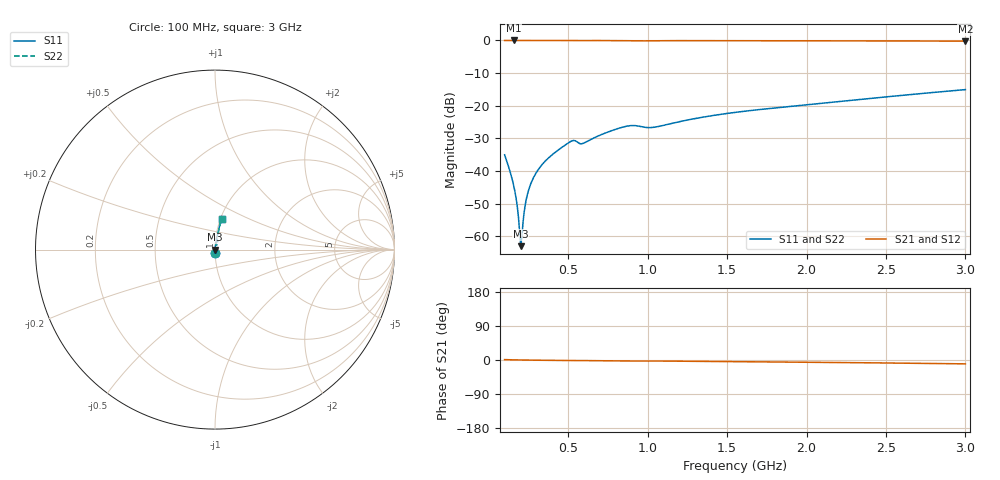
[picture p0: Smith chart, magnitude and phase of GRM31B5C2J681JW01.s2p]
!Murata Part Number: GRM31B5C2J681JW01
!These Parameters are Measured in Series Mode Connection
!Data Generated on Mar 30, 2021
!  o--ll--o
!Port1  Port2
!  o------o
!Operation Temp=25[degC], DC Bias Voltage=0[V]
!Freq. Start=100[MHz] Stop=3[GHz] 401[Steps]
# Hz S RI R 50
!Freq.(Hz) S11(Real) S11(Imag) S21(Real) S21(Imag) S12(Real) S12(Imag) S22(Real) S22(Imag)
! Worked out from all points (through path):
!   401 points, 100 MHz to 3 GHz, reference 50 ohm
!   highest |S21| = -0.01 dB at 158 MHz (marker M1); lowest = -0.2 dB at 3 GHz (marker M2)
!   group delay of S21, straight-line fit = 9.43 ps
!   lowest |S11| = -63.0 dB at 201.5 MHz (marker M3), VSWR 1.00, Z = 50.1 - j0.013 ohm
!   |S11| at or under -10 dB: start of sweep to end of sweep
!   |S22| runs from -63.0 to -15.1 dB; largest |S21 - S12| = 0
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1e8  0.000935 -0.0177  0.9991 0.0177  0.9991 0.0177  0.000935 -0.0177
1.29e8  0.000753 -0.0108  0.9992 0.0108  0.9992 0.0108  0.000753 -0.0108
1.58e8  0.00069 -0.00583  0.9993 0.00583  0.9993 0.00583  0.00069 -0.00583
1.725e8  0.000682 -0.00375  0.9993 0.00375  0.9993 0.00375  0.000682 -0.00375
1.9425e8  0.00069 -0.000983  0.9993 0.000983  0.9993 0.000983  0.00069 -0.000983
2.015e8  0.000697 -0.00013  0.9993 0.00013  0.9993 0.00013  0.000697 -0.00013
2.0875e8  0.000705 0.000693  0.9993 -0.000693  0.9993 -0.000693  0.000705 0.000693
2.16e8  0.000716 0.00149  0.9993 -0.00149  0.9993 -0.00149  0.000716 0.00149
2.305e8  0.000741 0.00302  0.9993 -0.00302  0.9993 -0.00302  0.000741 0.00302
2.5225e8  0.00079 0.00517  0.9992 -0.00517  0.9992 -0.00517  0.00079 0.00517
2.74e8  0.000852 0.00719  0.9991 -0.00719  0.9991 -0.00719  0.000852 0.00719
3.1025e8  0.000986 0.0104  0.999 -0.0104  0.999 -0.0104  0.000986 0.0104
3.8275e8  0.00141 0.0164  0.9986 -0.0164  0.9986 -0.0164  0.00141 0.0164
5.06e8  0.00462 0.0271  0.9954 -0.0271  0.9954 -0.0271  0.00462 0.0271
5.35e8  0.00791 0.0283  0.9921 -0.0283  0.9921 -0.0283  0.00791 0.0283
5.8575e8  0.00667 0.0254  0.9933 -0.0254  0.9933 -0.0254  0.00667 0.0254
8.6125e8  0.011 0.047  0.989 -0.047  0.989 -0.047  0.011 0.047
1.0715e9  0.0104 0.0472  0.9896 -0.0472  0.9896 -0.0472  0.0104 0.0472
1.55e9  0.0131 0.0781  0.9869 -0.0781  0.9869 -0.0781  0.0131 0.0781
2.03575e9  0.0193 0.1035  0.9807 -0.1035  0.9807 -0.1035  0.0193 0.1035
2.5215e9  0.0265 0.1357  0.9735 -0.1357  0.9735 -0.1357  0.0265 0.1357
3e9  0.0401 0.1722  0.9599 -0.1722  0.9599 -0.1722  0.0401 0.1722
